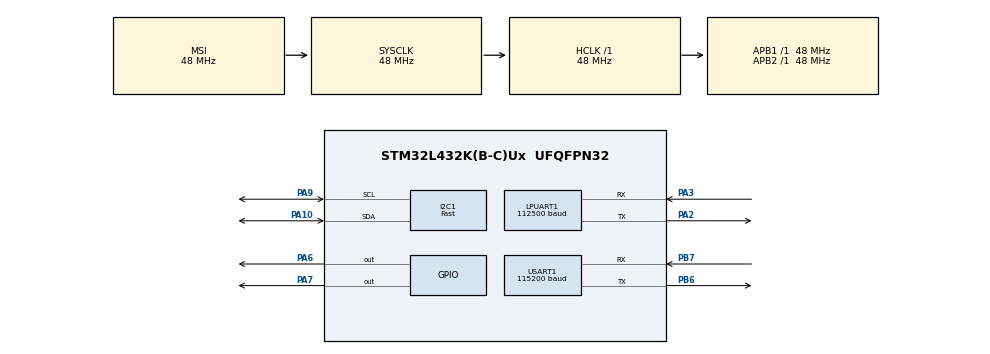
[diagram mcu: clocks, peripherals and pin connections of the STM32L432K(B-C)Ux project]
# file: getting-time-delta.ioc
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I2C1.I2C_Speed_Mode=I2C_Fast
I2C1.Timing=0x2010091A
LPUART1.BaudRate=112500
LPUART1.WordLength=UART_WORDLENGTH_8B
Mcu.Family=STM32L4
Mcu.Name=STM32L432K(B-C)Ux
Mcu.Package=UFQFPN32
NVIC.LPUART1_IRQn=true\:0\:0\:false\:true\:true\:1\:true\:true
NVIC.PriorityGroup=NVIC_PRIORITYGROUP_4
PA0.GPIO_Label=MCO
PA0.Signal=RCC_CK_IN
PA10.Mode=I2C
PA10.Signal=I2C1_SDA
PA13\ (JTMS-SWDIO).GPIO_Label=SWDIO
PA13\ (JTMS-SWDIO).Mode=Serial_Wire
PA13\ (JTMS-SWDIO).Signal=SYS_JTMS-SWDIO
PA14\ (JTCK-SWCLK).GPIO_Label=SWCLK
PA14\ (JTCK-SWCLK).Mode=Serial_Wire
PA14\ (JTCK-SWCLK).Signal=SYS_JTCK-SWCLK
PA2.Mode=Asynchronous
PA2.Signal=LPUART1_TX
PA3.Mode=Asynchronous
PA3.Signal=LPUART1_RX
PA6.GPIO_PuPd=GPIO_PULLDOWN
PA6.PinState=GPIO_PIN_RESET
PA6.Signal=GPIO_Output
PA7.GPIO_PuPd=GPIO_PULLDOWN
PA7.PinState=GPIO_PIN_RESET
PA7.Signal=GPIO_Output
PA9.Mode=I2C
PA9.Signal=I2C1_SCL
PB6.Mode=Asynchronous
PB6.Signal=USART1_TX
PB7.Mode=Asynchronous
PB7.Signal=USART1_RX
ProjectManager.HeapSize=0x200
ProjectManager.StackSize=0x400
ProjectManager.TargetToolchain=STM32CubeIDE
RCC.ADCFreq_Value=48000000
RCC.AHBFreq_Value=48000000
RCC.APB1Freq_Value=48000000
RCC.APB1TimFreq_Value=48000000
RCC.APB2Freq_Value=48000000
RCC.APB2TimFreq_Value=48000000
RCC.CK48CLockSelection=RCC_USBCLKSOURCE_MSI
RCC.CortexFreq_Value=48000000
RCC.HCLKFreq_Value=48000000
RCC.HSE_VALUE=8000000
RCC.HSI48_VALUE=48000000
RCC.HSI_VALUE=16000000
RCC.LPTIM1CLockSelection=RCC_LPTIM1CLKSOURCE_LSE
RCC.LSE_VALUE=32768
RCC.MSIClockRange=RCC_MSIRANGE_11
RCC.MSI_VALUE=48000000
RCC.PLLM=8
RCC.PLLQ=RCC_PLLQ_DIV4
RCC.PLLSAI1N=16
RCC.PLLSAI1Q=RCC_PLLQ_DIV4
RCC.RTCClockSelection=RCC_RTCCLKSOURCE_LSE
RCC.SYSCLKFreq_VALUE=48000000
RCC.USBFreq_Value=48000000
RCC.VCOOutputFreq_Value=48000000
USART1.BaudRate=115200
USART1.VirtualMode-Asynchronous=VM_ASYNC
VP_TIM1_VS_ClockSourceINT.Mode=Internal
VP_TIM2_VS_ClockSourceINT.Mode=Internal
board=custom

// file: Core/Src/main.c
/* USER CODE BEGIN Header */
/**
  ******************************************************************************
  * @file           : main.c
  * @brief          : Main program body
  ******************************************************************************
  * @attention
  *
  * Copyright (c) 2022 STMicroelectronics.
  * All rights reserved.
  *
  * This software is licensed under terms that can be found in the LICENSE file
  * in the root directory of this software component.
  * If no LICENSE file comes with this software, it is provided AS-IS.
  *
  ******************************************************************************
  */
/* USER CODE END Header */
#include "main.h"

/* USER CODE BEGIN Includes */
#include <stdio.h>
#include <math.h>
#include <time.h>
#include "logger.h"
#include "levmarq.h"
/* USER CODE END Includes */

/* USER CODE BEGIN PD */
#define N_MEASUREMENTS 13
#define N_PARAMS 5

//#define A_CONST 3067.85
//#define B_CONST 8360.51
//#define C_CONST 0.0308373
#define A_CONST 2366.09
#define B_CONST 4150.07
#define C_CONST 0.0320124
/* USER CODE END PD */

I2C_HandleTypeDef hi2c1;

UART_HandleTypeDef hlpuart1;
UART_HandleTypeDef huart1;

TIM_HandleTypeDef htim1;
TIM_HandleTypeDef htim2;

/* USER CODE BEGIN PV */
char print_data[PRINT_DATA_SIZE];
LMstat lmstat;
/* USER CODE END PV */

void SystemClock_Config(void);
static void MX_GPIO_Init(void);
static void MX_LPUART1_UART_Init(void);
static void MX_USART1_UART_Init(void);
static void MX_I2C1_Init(void);
static void MX_TIM1_Init(void);
static void MX_TIM2_Init(void);
static void MX_NVIC_Init(void);
/* USER CODE BEGIN PFP */
/* @brief   Function, describes Newton law of heating/cooling
 *
 * @usage   par[0] - temperature of heater,
 *          par[1] - initial temperature of water,
 *          par[2] - heat transmission coefficient
 *
 * @par     input of Newton Law:
 * @x       samplenumber
 * @fdata   additional data, not used
 *
 * @return  temperature at the time x
 */
double analytical_model(double *p, int t, void *fdata)
{
	// p[0] = q
	// p[1] = v
	// p[2] = d
	// p[3] = k
	// p[4] = a
    return p[0]/(4.0*p[3]*3.1415*(t+p[2])) * exp(-pow(3-p[1]*(t+p[2]),2)/(4.0*p[4]*(t+p[2])));
}

/*
 * @brief   Gradient function for Newton law of heating
 */
void gradient(double *g, double *p, int t, void *fdata)
{
	double tmp_rslt = exp(-pow(3-p[1]*(t+p[2]),2)/(4.0*p[4]*(t+p[2])));
    g[0] = tmp_rslt/(4.0*3.1415*p[3]*(t+p[2]));
    g[1] = tmp_rslt*p[0]*(3-p[1]*(t+p[2]))/(8.0*3.1415*p[3]*p[4]*(t+p[2]));
    g[2] = p[0]*tmp_rslt*(-4.0*p[4]*(t+p[2])-(pow(p[2]*p[1],2)+2*t*p[2]*pow(p[1],2)-9+pow(t*p[1],2)))/(16*3.1415*p[3]*p[4]*pow(t+p[2],3));
    g[3] = -p[0]*tmp_rslt/(4.0*3.1415*pow(p[3],2)*(t+p[2]));
    g[4] = tmp_rslt*p[0]*pow(3-p[1]*(t+p[2]),2)/(16.0*3.1415*p[3]*pow(p[4],2)*pow(t+p[2],2));
}

/*
 * @brief  Function for prediction of time, when target temperature will be reached
 *
 * @par    Parameters from Newton equation
 * @temp   Target temperature
 * @return Number of sample
 */
double get_timedelta(double *p)
{
    return 1000.0*((-2*p[4]+sqrt(4*pow(p[4],2)+pow(3*p[1],2)))/pow(p[1],2)-p[2]);
}
/*
 * @brief  Function for transforming timedelta to flowrate, provide 2 decimal places
 *
 * @par    Parameters from Newton equation
 * @temp   Target temperature
 * @return Number of sample
 */
double get_flowrate(double td)
{
    return log(pow(B_CONST/(td-A_CONST),1/C_CONST));
}
/* USER CODE END PFP */

int main(void)
{
  /* USER CODE BEGIN 1 */
  uint32_t prev_time;
  /* USER CODE END 1 */

  /* MCU Configuration--------------------------------------------------------*/

  /* Reset of all peripherals, Initializes the Flash interface and the Systick. */
  HAL_Init();

  /* Configure the system clock */
  SystemClock_Config();

  /* Initialize all configured peripherals */
  MX_GPIO_Init();
  MX_LPUART1_UART_Init();
  MX_USART1_UART_Init();
  MX_I2C1_Init();
  MX_TIM1_Init();
  MX_TIM2_Init();

  /* Initialize interrupts */
  MX_NVIC_Init();
  /* USER CODE BEGIN 2 */
  int n_iterations;
  levmarq_init(&lmstat);
  /* USER CODE END 2 */

  /* Infinite loop */
  /* USER CODE BEGIN WHILE */
  while (1)
  {
	  //  5 uL/min (output:  5.18)
	  // double t_data[] = {0.0499992,0.0299988,0.15,0.32,0.469999,0.549999,0.58,0.529999,0.449999,0.359999,0.259998,0.15,0.0299988};
	  // 10 uL/min (output:  7.22)
	  // double t_data[] = {0.0400009,0.0200005,0.219999,0.52,0.75,0.879999,0.889999,0.83,0.74,0.59,0.469999,0.33,0.219999};
	  // 20 uL/min (output: 20.22)
	  // double t_data[] = {0.219999,0.23,0.73,1.23,1.39,1.35,1.2,0.98,0.73,0.52,0.32,0.15,0.0};
	  // 30 uL/min (output: 31.07)
	  // double t_data[] = {0.0599995,0.23,0.950001,1.45,1.59,1.41,1.16,0.889999,0.639999,0.440001,0.27,0.130001,0.0200005};
	  // 40 uL/min (output: 42.25)
	  // double t_data[] = {0.129999,0.49,1.43,1.86,1.79,1.52,1.21,0.92,0.66,0.459999,0.289999,0.139999,0.0};
	  // 50 uL/min (output: 52.93)
	  // double t_data[] = {0.0,0.49,1.43,1.75,1.6,1.31,1.02,0.75,0.529999,0.359999,0.23,0.119999,0.0299988};
	  // 60 uL/min (output: 58.67)
	  double t_data[] = {0.0,0.57,1.45,1.69,1.51,1.22,0.93,0.709999,0.5,0.34,0.209999,0.109999,0.0};
	  // 70 uL/min (output: 64.03)
	  // double t_data[] = {0.0799999,0.65,1.46,1.62,1.43,1.12,0.85,0.630001,0.440001,0.300001,0.190001,0.0900002,0.0100002};
	  // 80 uL/min (output: 70.56)
	  // double t_data[] = {0.32,0.870001,1.59,1.66,1.42,1.11,0.82,0.610001,0.43, 0.290001,0.18,0.0799999,0.0100002};

	  // 40 uL/min Far Sensor (output: 42.80)
	  // double t_data[] = {0.0799999,0.0200005,0.15,0.440001,0.67,0.74,0.719999,0.630001,0.52,0.41,0.280001,0.16,0.0699997};
	  // 50 uL/min Far Sensor (output: 46.55)
	  // double t_data[] = {0.0699997,0.00999832,0.219999,0.549999,0.769999,0.83,0.769999,0.679998,0.529999,0.389999,0.259998,0.15,0.039999};
	  // 60 uL/min Far Sensor (output: 56.82)
	  // double t_data[] = {0.18,0.120001,0.42,0.76,0.880001,0.84,0.720001,0.59,0.440001,0.320002,0.200001,0.1,0.0};
	  // 70 uL/min Far Sensor (output: 69.94)
	  // double t_data[] = {0.039999,0.0999985,0.509998,0.82,0.889999,0.83,0.699999,0.58,0.439999,0.309999,0.219999,0.109999,0.039999};
	  // 80 uL/min Far Sensor (output: 75.88)
	  // double t_data[] = {0.0500011,0.110001,0.550001,0.84,0.91,0.82,0.690001,0.540001,0.41,0.300001,0.200001,0.120001,0.0500011};
	  double params[N_PARAMS] = {30, 0.5, 1, 0.598, 0.143}; // Initial values of parameters
	  prev_time = HAL_GetTick();
	  n_iterations = levmarq(N_PARAMS, params, N_MEASUREMENTS, t_data, NULL,
	          &analytical_model, &gradient, NULL, &lmstat);
	  prev_time = HAL_GetTick()-prev_time;
	  log_info("%s","\n\n");
	  log_info("%s","**************** End of calculation ***********************");
	  log_info("N iterations: %d\t Elapsed Time: %lu ms", n_iterations,prev_time);
	  log_info("q: %f, v: %f, d: %f, k: %f, a: %f", params[0], params[1], params[2], params[3], params[4]);
	  log_info("%s","**************** Interpolation test ***********************");
	  log_info("Result: %.2f uL/min w timdelta %.2f ms", get_flowrate(get_timedelta(params)),get_timedelta(params));
	  HAL_Delay(1000);
    /* USER CODE END WHILE */

  }
}

void SystemClock_Config(void)
{
  RCC_OscInitTypeDef RCC_OscInitStruct = {0};
  RCC_ClkInitTypeDef RCC_ClkInitStruct = {0};

  /** Configure the main internal regulator output voltage
  */
  if (HAL_PWREx_ControlVoltageScaling(PWR_REGULATOR_VOLTAGE_SCALE1) != HAL_OK)
  {
    Error_Handler();
  }
  /** Initializes the RCC Oscillators according to the specified parameters
  * in the RCC_OscInitTypeDef structure.
  */
  RCC_OscInitStruct.OscillatorType = RCC_OSCILLATORTYPE_MSI;
  RCC_OscInitStruct.MSIState = RCC_MSI_ON;
  RCC_OscInitStruct.MSICalibrationValue = 0;
  RCC_OscInitStruct.MSIClockRange = RCC_MSIRANGE_11;
  RCC_OscInitStruct.PLL.PLLState = RCC_PLL_NONE;
  if (HAL_RCC_OscConfig(&RCC_OscInitStruct) != HAL_OK)
  {
    Error_Handler();
  }
  /** Initializes the CPU, AHB and APB buses clocks
  */
  RCC_ClkInitStruct.ClockType = RCC_CLOCKTYPE_HCLK|RCC_CLOCKTYPE_SYSCLK
                              |RCC_CLOCKTYPE_PCLK1|RCC_CLOCKTYPE_PCLK2;
  RCC_ClkInitStruct.SYSCLKSource = RCC_SYSCLKSOURCE_MSI;
  RCC_ClkInitStruct.AHBCLKDivider = RCC_SYSCLK_DIV1;
  RCC_ClkInitStruct.APB1CLKDivider = RCC_HCLK_DIV1;
  RCC_ClkInitStruct.APB2CLKDivider = RCC_HCLK_DIV1;

  if (HAL_RCC_ClockConfig(&RCC_ClkInitStruct, FLASH_LATENCY_2) != HAL_OK)
  {
    Error_Handler();
  }
}

/**
  * @brief NVIC Configuration.
  * @retval None
  */
static void MX_NVIC_Init(void)
{
  /* LPUART1_IRQn interrupt configuration */
  HAL_NVIC_SetPriority(LPUART1_IRQn, 0, 0);
  HAL_NVIC_EnableIRQ(LPUART1_IRQn);
}

static void MX_I2C1_Init(void)
{

  hi2c1.Instance = I2C1;
  hi2c1.Init.Timing = 0x2010091A;
  hi2c1.Init.OwnAddress1 = 0;
  hi2c1.Init.AddressingMode = I2C_ADDRESSINGMODE_7BIT;
  hi2c1.Init.DualAddressMode = I2C_DUALADDRESS_DISABLE;
  hi2c1.Init.OwnAddress2 = 0;
  hi2c1.Init.OwnAddress2Masks = I2C_OA2_NOMASK;
  hi2c1.Init.GeneralCallMode = I2C_GENERALCALL_DISABLE;
  hi2c1.Init.NoStretchMode = I2C_NOSTRETCH_DISABLE;
  if (HAL_I2C_Init(&hi2c1) != HAL_OK)
  {
    Error_Handler();
  }
  /** Configure Analogue filter
  */
  if (HAL_I2CEx_ConfigAnalogFilter(&hi2c1, I2C_ANALOGFILTER_ENABLE) != HAL_OK)
  {
    Error_Handler();
  }
  /** Configure Digital filter
  */
  if (HAL_I2CEx_ConfigDigitalFilter(&hi2c1, 0) != HAL_OK)
  {
    Error_Handler();
  }

}

static void MX_LPUART1_UART_Init(void)
{

  hlpuart1.Instance = LPUART1;
  hlpuart1.Init.BaudRate = 112500;
  hlpuart1.Init.WordLength = UART_WORDLENGTH_8B;
  hlpuart1.Init.StopBits = UART_STOPBITS_1;
  hlpuart1.Init.Parity = UART_PARITY_NONE;
  hlpuart1.Init.Mode = UART_MODE_TX_RX;
  hlpuart1.Init.HwFlowCtl = UART_HWCONTROL_NONE;
  hlpuart1.Init.OneBitSampling = UART_ONE_BIT_SAMPLE_DISABLE;
  hlpuart1.AdvancedInit.AdvFeatureInit = UART_ADVFEATURE_NO_INIT;
  if (HAL_UART_Init(&hlpuart1) != HAL_OK)
  {
    Error_Handler();
  }

}

static void MX_USART1_UART_Init(void)
{

  huart1.Instance = USART1;
  huart1.Init.BaudRate = 115200;
  huart1.Init.WordLength = UART_WORDLENGTH_8B;
  huart1.Init.StopBits = UART_STOPBITS_1;
  huart1.Init.Parity = UART_PARITY_NONE;
  huart1.Init.Mode = UART_MODE_TX_RX;
  huart1.Init.HwFlowCtl = UART_HWCONTROL_NONE;
  huart1.Init.OverSampling = UART_OVERSAMPLING_16;
  huart1.Init.OneBitSampling = UART_ONE_BIT_SAMPLE_DISABLE;
  huart1.AdvancedInit.AdvFeatureInit = UART_ADVFEATURE_NO_INIT;
  if (HAL_UART_Init(&huart1) != HAL_OK)
  {
    Error_Handler();
  }

}

static void MX_TIM1_Init(void)
{

  TIM_ClockConfigTypeDef sClockSourceConfig = {0};
  TIM_MasterConfigTypeDef sMasterConfig = {0};

  htim1.Instance = TIM1;
  htim1.Init.Prescaler = 0;
  htim1.Init.CounterMode = TIM_COUNTERMODE_UP;
  htim1.Init.Period = 65535;
  htim1.Init.ClockDivision = TIM_CLOCKDIVISION_DIV1;
  htim1.Init.RepetitionCounter = 0;
  htim1.Init.AutoReloadPreload = TIM_AUTORELOAD_PRELOAD_DISABLE;
  if (HAL_TIM_Base_Init(&htim1) != HAL_OK)
  {
    Error_Handler();
  }
  sClockSourceConfig.ClockSource = TIM_CLOCKSOURCE_INTERNAL;
  if (HAL_TIM_ConfigClockSource(&htim1, &sClockSourceConfig) != HAL_OK)
  {
    Error_Handler();
  }
  sMasterConfig.MasterOutputTrigger = TIM_TRGO_RESET;
  sMasterConfig.MasterOutputTrigger2 = TIM_TRGO2_RESET;
  sMasterConfig.MasterSlaveMode = TIM_MASTERSLAVEMODE_DISABLE;
  if (HAL_TIMEx_MasterConfigSynchronization(&htim1, &sMasterConfig) != HAL_OK)
  {
    Error_Handler();
  }

}

static void MX_TIM2_Init(void)
{

  TIM_ClockConfigTypeDef sClockSourceConfig = {0};
  TIM_MasterConfigTypeDef sMasterConfig = {0};

  htim2.Instance = TIM2;
  htim2.Init.Prescaler = 0;
  htim2.Init.CounterMode = TIM_COUNTERMODE_UP;
  htim2.Init.Period = 4294967295;
  htim2.Init.ClockDivision = TIM_CLOCKDIVISION_DIV1;
  htim2.Init.AutoReloadPreload = TIM_AUTORELOAD_PRELOAD_DISABLE;
  if (HAL_TIM_Base_Init(&htim2) != HAL_OK)
  {
    Error_Handler();
  }
  sClockSourceConfig.ClockSource = TIM_CLOCKSOURCE_INTERNAL;
  if (HAL_TIM_ConfigClockSource(&htim2, &sClockSourceConfig) != HAL_OK)
  {
    Error_Handler();
  }
  sMasterConfig.MasterOutputTrigger = TIM_TRGO_RESET;
  sMasterConfig.MasterSlaveMode = TIM_MASTERSLAVEMODE_DISABLE;
  if (HAL_TIMEx_MasterConfigSynchronization(&htim2, &sMasterConfig) != HAL_OK)
  {
    Error_Handler();
  }

}

static void MX_GPIO_Init(void)
{
  GPIO_InitTypeDef GPIO_InitStruct = {0};

  /* GPIO Ports Clock Enable */
  __HAL_RCC_GPIOA_CLK_ENABLE();
  __HAL_RCC_GPIOB_CLK_ENABLE();

  /*Configure GPIO pin Output Level */
  HAL_GPIO_WritePin(GPIOA, GPIO_PIN_6|GPIO_PIN_7, GPIO_PIN_RESET);

  /*Configure GPIO pins : PA6 PA7 */
  GPIO_InitStruct.Pin = GPIO_PIN_6|GPIO_PIN_7;
  GPIO_InitStruct.Mode = GPIO_MODE_OUTPUT_PP;
  GPIO_InitStruct.Pull = GPIO_PULLDOWN;
  GPIO_InitStruct.Speed = GPIO_SPEED_FREQ_LOW;
  HAL_GPIO_Init(GPIOA, &GPIO_InitStruct);

}

void Error_Handler(void)
{
  __disable_irq();
  while (1)
  {
  }
}
